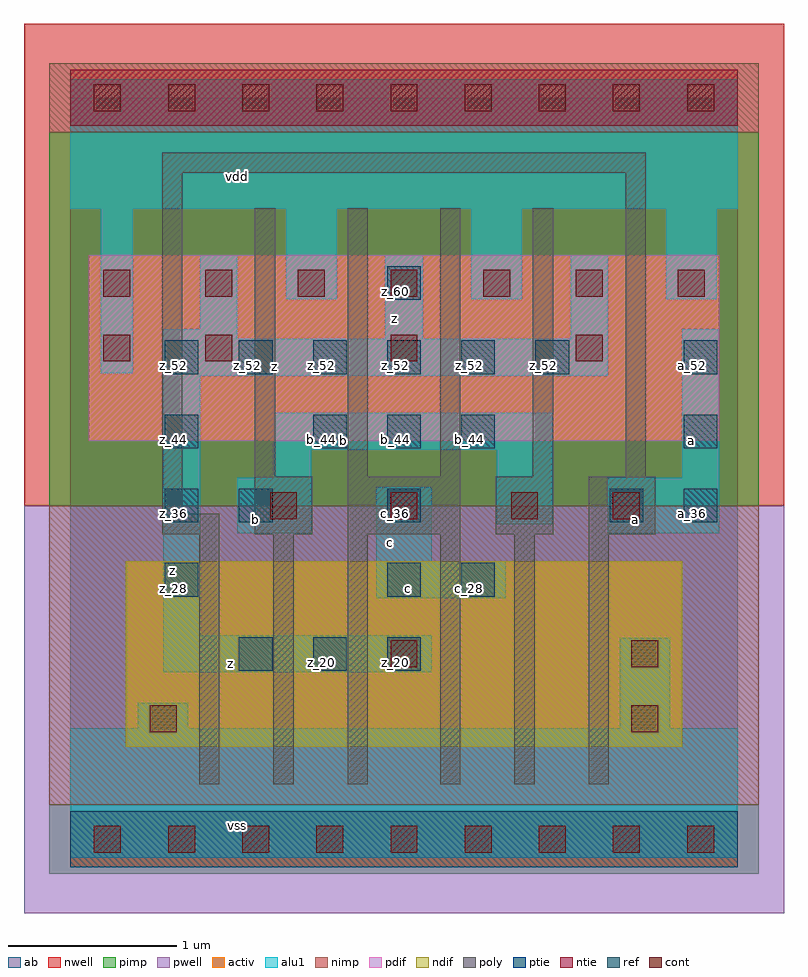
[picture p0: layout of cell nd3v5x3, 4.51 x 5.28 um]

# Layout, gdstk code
import gdstk
lib = gdstk.Library(unit=1e-6, precision=2.5e-09)
def R(c, l, rs):  # rectangles x0, y0, x1, y1
    for r in rs: c.add(gdstk.rectangle(r[:2], r[2:], *l))
def A(c, l, x, y, w, h, nx, ny, dx, dy):  # array of equal rectangles
    R(c, l, [(x+i*dx, y+j*dy, x+i*dx+w, y+j*dy+h) for i in range(nx) for j in range(ny)])
ndif = (3, 0)
pdif = (4, 0)
ntie = (5, 0)
ptie = (6, 0)
ref = (24, 0)
cont = (25, 0)
pwell = (41, 0)
nwell = (42, 0)
activ = (43, 0)
pimp = (44, 0)
nimp = (45, 0)
poly = (46, 0)
alu1 = (49, 0)
ab = (63, 0)

nd3v5x3 = lib.new_cell('nd3v5x3')
R(nd3v5x3, ndif, [(0.33,0.55,3.63,1.65)])
R(nd3v5x3, pdif, [(0.11,2.365,3.85,3.465)])
R(nd3v5x3, ntie, [(0,4.235,3.96,4.565)])
R(nd3v5x3, ptie, [(0,-0.165,3.96,0.165)])
A(nd3v5x3, ref, 1, 1, 0.2, 0.2, 3, 1, 0.44, 0)
A(nd3v5x3, ref, 0.56, 1.44, 0.2, 0.2, 1, 3, 0, 0.44)
A(nd3v5x3, ref, 3.64, 1.88, 0.2, 0.2, 1, 3, 0, 0.44)
A(nd3v5x3, ref, 1.44, 2.32, 0.2, 0.2, 3, 1, 0.44, 0)
A(nd3v5x3, ref, 0.56, 2.76, 0.2, 0.2, 6, 1, 0.44, 0)
R(nd3v5x3, ref, [(1.88,1.44,2.08,1.64), (2.32,1.44,2.52,1.64), (1,1.88,1.2,2.08), (1.88,1.88,2.08,2.08), (3.2,1.88,3.4,2.08), (1.88,3.2,2.08,3.4)])
A(nd3v5x3, cont, 0.14, -0.08, 0.16, 0.16, 9, 2, 0.44, 4.4)
A(nd3v5x3, cont, 1.185, 1.9, 0.16, 0.16, 3, 1, 0.715, 0)
A(nd3v5x3, cont, 0.8, 2.835, 0.16, 0.16, 3, 1, 1.1, 0)
A(nd3v5x3, cont, 0.8, 3.22, 0.16, 0.16, 5, 1, 0.55, 0)
R(nd3v5x3, cont, [(0.47,0.635,0.63,0.795), (3.33,0.635,3.49,0.795), (1.9,1.02,2.06,1.18), (3.33,1.02,3.49,1.18), (3.22,1.9,3.38,2.06), (0.195,2.835,0.355,2.995), (0.195,3.22,0.355,3.38), (3.605,3.22,3.765,3.38)])
R(nd3v5x3, pwell, [(-0.275,-0.44,4.235,1.98)])
R(nd3v5x3, nwell, [(-0.275,1.98,4.235,4.84)])
R(nd3v5x3, activ, [(0,-0.165,3.96,0.165), (0.33,0.55,3.63,1.65), (0.11,2.365,3.85,3.465), (0,4.235,3.96,4.565)])
R(nd3v5x3, pimp, [(-0.125,-0.205,4.085,0.205), (-0.125,1.98,4.085,4.195)])
R(nd3v5x3, nimp, [(-0.125,0.205,4.085,1.98), (-0.125,4.195,4.085,4.605)])
A(nd3v5x3, poly, 0.765, 0.325, 0.12, 1.485, 3, 1, 0.44, 0)
A(nd3v5x3, poly, 2.195, 0.325, 0.12, 1.485, 3, 1, 0.44, 0)
A(nd3v5x3, poly, 1.095, 2.15, 0.12, 1.595, 4, 1, 0.55, 0)
R(nd3v5x3, poly, [(0.545,1.81,0.885,1.93), (1.095,1.81,1.435,2.15), (1.645,1.81,2.315,2.15), (2.525,1.81,2.865,2.15), (3.075,1.81,3.47,2.15), (0.545,1.93,0.665,3.955), (3.295,2.15,3.415,3.955), (0.545,3.955,3.415,4.075)])
R(nd3v5x3, alu1, [(0,-0.11,3.96,0.66), (0.4,0.66,0.7,0.81), (3.26,0.66,3.56,1.195), (0.55,0.99,2.145,1.21), (0.55,1.21,0.77,2.75), (1.815,1.43,2.585,1.65), (1.815,1.65,2.145,2.09), (0.99,1.815,1.43,2.145), (3.19,1.815,3.85,2.145), (2.53,1.87,2.86,2.31), (1.21,2.145,1.43,2.31), (3.63,2.145,3.85,3.025), (1.21,2.31,2.86,2.53), (0.55,2.75,3.19,2.97), (0.18,2.765,0.37,3.74), (0.55,2.97,0.99,3.025), (1.87,2.97,2.09,3.465), (2.97,2.97,3.19,3.465), (0.77,3.025,0.99,3.465), (1.28,3.205,1.58,3.74), (2.38,3.205,2.68,3.74), (3.535,3.205,3.835,3.74), (0,3.74,3.96,4.51)])
R(nd3v5x3, ab, [(0,0,3.96,4.4)])
nd3v5x3.add(gdstk.Label('vss', (0.99,0.0825), layer=49, texttype=0))
nd3v5x3.add(gdstk.Label('z', (0.9475,1.045), layer=49, texttype=0))
nd3v5x3.add(gdstk.Label('c', (2.0075,1.485), layer=49, texttype=0))
nd3v5x3.add(gdstk.Label('a', (3.355,1.8975), layer=49, texttype=0))
nd3v5x3.add(gdstk.Label('a', (3.685,2.365), layer=49, texttype=0))
nd3v5x3.add(gdstk.Label('c', (1.8975,1.76), layer=49, texttype=0))
nd3v5x3.add(gdstk.Label('b', (1.1,1.8975), layer=49, texttype=0))
nd3v5x3.add(gdstk.Label('b', (1.6225,2.365), layer=49, texttype=0))
nd3v5x3.add(gdstk.Label('z', (0.605,1.595), layer=49, texttype=0))
nd3v5x3.add(gdstk.Label('z', (1.21,2.805), layer=49, texttype=0))
nd3v5x3.add(gdstk.Label('z', (1.925,3.0925), layer=49, texttype=0))
nd3v5x3.add(gdstk.Label('vdd', (0.99,3.9325), layer=49, texttype=0))
nd3v5x3.add(gdstk.Label('a_52', (3.69,2.81), layer=24, texttype=0))
nd3v5x3.add(gdstk.Label('a_44', (3.69,2.37), layer=24, texttype=0))
nd3v5x3.add(gdstk.Label('b_36', (1.05,1.93), layer=24, texttype=0))
nd3v5x3.add(gdstk.Label('z_52', (2.81,2.81), layer=24, texttype=0))
nd3v5x3.add(gdstk.Label('z_52', (2.37,2.81), layer=24, texttype=0))
nd3v5x3.add(gdstk.Label('z_52', (1.93,2.81), layer=24, texttype=0))
nd3v5x3.add(gdstk.Label('z_44', (0.61,2.37), layer=24, texttype=0))
nd3v5x3.add(gdstk.Label('z_36', (0.61,1.93), layer=24, texttype=0))
nd3v5x3.add(gdstk.Label('c_28', (2.37,1.49), layer=24, texttype=0))
nd3v5x3.add(gdstk.Label('c_28', (1.93,1.49), layer=24, texttype=0))
nd3v5x3.add(gdstk.Label('a_36', (3.69,1.93), layer=24, texttype=0))
nd3v5x3.add(gdstk.Label('z_28', (0.61,1.49), layer=24, texttype=0))
nd3v5x3.add(gdstk.Label('z_20', (1.93,1.05), layer=24, texttype=0))
nd3v5x3.add(gdstk.Label('a_36', (3.25,1.93), layer=24, texttype=0))
nd3v5x3.add(gdstk.Label('b_44', (2.37,2.37), layer=24, texttype=0))
nd3v5x3.add(gdstk.Label('z_60', (1.93,3.25), layer=24, texttype=0))
nd3v5x3.add(gdstk.Label('b_44', (1.93,2.37), layer=24, texttype=0))
nd3v5x3.add(gdstk.Label('c_36', (1.93,1.93), layer=24, texttype=0))
nd3v5x3.add(gdstk.Label('z_52', (1.49,2.81), layer=24, texttype=0))
nd3v5x3.add(gdstk.Label('b_44', (1.49,2.37), layer=24, texttype=0))
nd3v5x3.add(gdstk.Label('z_20', (1.49,1.05), layer=24, texttype=0))
nd3v5x3.add(gdstk.Label('z_52', (1.05,2.81), layer=24, texttype=0))
nd3v5x3.add(gdstk.Label('z_20', (1.05,1.05), layer=24, texttype=0))
nd3v5x3.add(gdstk.Label('z_52', (0.61,2.81), layer=24, texttype=0))

lib.write_gds('nd3v5x3.gds')
